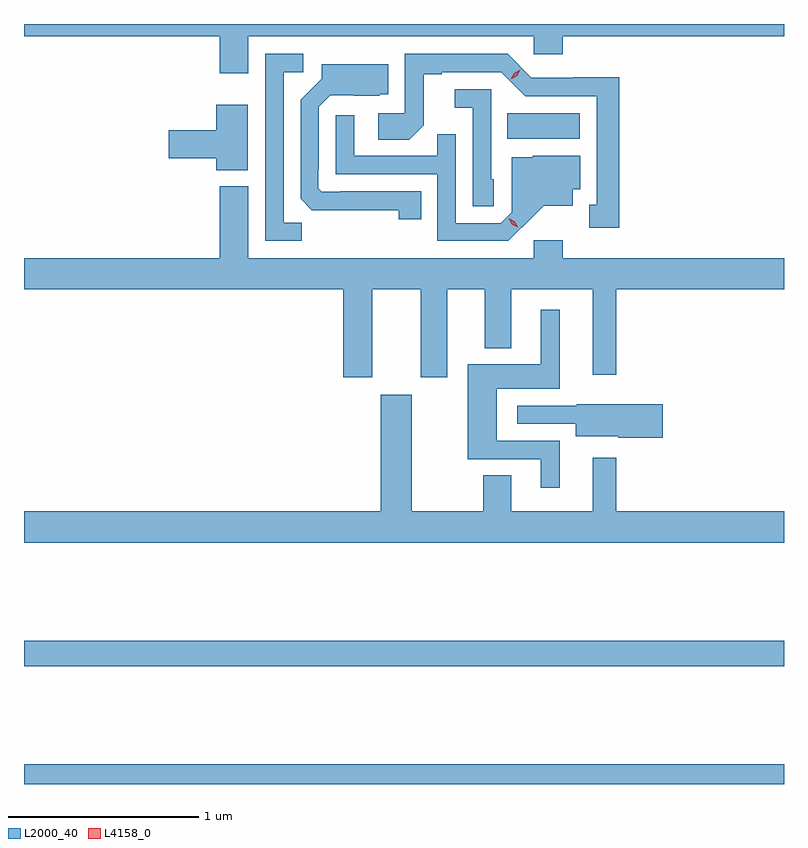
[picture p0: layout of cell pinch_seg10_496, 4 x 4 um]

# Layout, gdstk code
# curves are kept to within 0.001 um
import gdstk
lib = gdstk.Library(unit=1e-6, precision=1e-09)
def R(c, l, rs):  # rectangles x0, y0, x1, y1
    for r in rs: c.add(gdstk.rectangle(r[:2], r[2:], *l))
def P(c, l, *ps):  # polygons
    for p in ps: c.add(gdstk.Polygon(p, *l))
L2000_40 = (2000, 40)
L4158_0 = (4158, 0)

pinch_seg10_496 = lib.new_cell('pinch_seg10_496')
R(pinch_seg10_496, L2000_40, [(231.395,1255.089,235.395,1255.192), (231.395,1255.708,235.395,1255.844), (233.938,1258.484,234.319,1258.618)])
P(pinch_seg10_496, L2000_40, [(232.576,1259.024),(234.078,1259.024),(234.078,1258.931),(234.23,1258.931),(234.23,1259.024),(235.395,1259.024),(235.395,1259.089),(231.395,1259.089),(231.395,1259.024),(232.424,1259.024),(232.424,1258.83),(232.576,1258.83)],
  [(232.857,1258.043),(232.761,1258.043),(232.761,1258.836),(232.864,1258.836),(232.864,1258.932),(232.665,1258.932),(232.665,1257.948),(232.857,1257.948)],
  [(234.529,1258.808),(234.288,1258.808),(234.288,1258.806),(234.066,1258.806),(233.94,1258.932),(233.4,1258.932),(233.4,1258.62),(233.259,1258.62),(233.259,1258.48),(233.423,1258.48),(233.499,1258.556),(233.499,1258.824),(233.593,1258.824),(233.593,1258.836),(233.907,1258.836),(234.033,1258.71),(234.41,1258.71),(234.41,1258.137),(234.371,1258.137),(234.371,1258.017),(234.529,1258.017)],
  [(233.486,1258.209),(233.062,1258.209),(233.062,1258.206),(232.962,1258.206),(232.944,1258.224),(232.944,1258.324),(232.947,1258.324),(232.947,1258.653),(233.007,1258.713),(233.264,1258.712),(233.27,1258.718),(233.311,1258.718),(233.311,1258.876),(232.961,1258.876),(232.961,1258.8),(232.851,1258.69),(232.851,1258.168),(232.91,1258.109),(233.368,1258.108),(233.368,1258.062),(233.486,1258.062)],
  [(233.868,1258.272),(233.853,1258.272),(233.853,1258.746),(233.661,1258.746),(233.661,1258.649),(233.757,1258.649),(233.757,1258.129),(233.868,1258.129)],
  [(232.573,1258.663),(232.406,1258.663),(232.406,1258.529),(232.158,1258.529),(232.158,1258.382),(232.406,1258.382),(232.406,1258.319),(232.573,1258.319)],
  [(234.001,1258.005),(234.131,1258.133),(234.283,1258.133),(234.283,1258.22),(234.322,1258.22),(234.322,1258.396),(234.072,1258.396),(234.072,1258.387),(233.961,1258.387),(233.961,1258.098),(233.904,1258.041),(233.667,1258.041),(233.667,1258.508),(233.569,1258.508),(233.569,1258.395),(233.133,1258.395),(233.133,1258.609),(233.037,1258.609),(233.037,1258.299),(233.571,1258.299),(233.571,1257.948),(233.944,1257.948)],
  [(233.227,1257.692),(233.483,1257.692),(233.483,1257.231),(233.623,1257.231),(233.623,1257.692),(233.819,1257.692),(233.819,1257.383),(233.959,1257.383),(233.959,1257.692),(234.389,1257.692),(234.389,1257.243),(234.511,1257.243),(234.511,1257.692),(235.395,1257.692),(235.395,1257.856),(234.23,1257.856),(234.23,1257.952),(234.078,1257.952),(234.078,1257.856),(232.576,1257.856),(232.576,1258.234),(232.424,1258.234),(232.424,1257.856),(231.395,1257.856),(231.395,1257.692),(233.075,1257.692),(233.075,1257.231),(233.227,1257.231)],
  [(234.214,1256.895),(233.884,1256.895),(233.884,1257.17),(234.214,1257.17),(234.214,1257.586),(234.116,1257.586),(234.116,1257.298),(233.731,1257.298),(233.731,1256.799),(234.116,1256.799),(234.116,1256.649),(234.214,1256.649)],
  [(234.757,1257.089),(234.303,1257.089),(234.303,1257.081),(233.991,1257.081),(233.991,1256.985),(234.299,1256.985),(234.299,1256.918),(234.522,1256.918),(234.522,1256.911),(234.757,1256.911)],
  [(234.389,1256.806),(234.389,1256.524),(233.959,1256.524),(233.959,1256.714),(233.812,1256.714),(233.812,1256.524),(233.437,1256.524),(233.437,1257.139),(233.273,1257.139),(233.273,1256.524),(231.395,1256.524),(231.395,1256.36),(235.395,1256.36),(235.395,1256.524),(234.511,1256.524),(234.511,1256.806)])
P(pinch_seg10_496, L4158_0, [(233.958,1258.798),(233.958,1258.798),(233.976,1258.831),(234.008,1258.849),(234.008,1258.849),(234.008,1258.849),(233.99,1258.817),(233.958,1258.798)],
  [(233.993,1258.02),(233.963,1258.036),(233.945,1258.066),(233.945,1258.067),(233.946,1258.067),(233.976,1258.051),(233.994,1258.021),(233.994,1258.02)])

lib.write_gds('pinch_seg10_496.gds')
